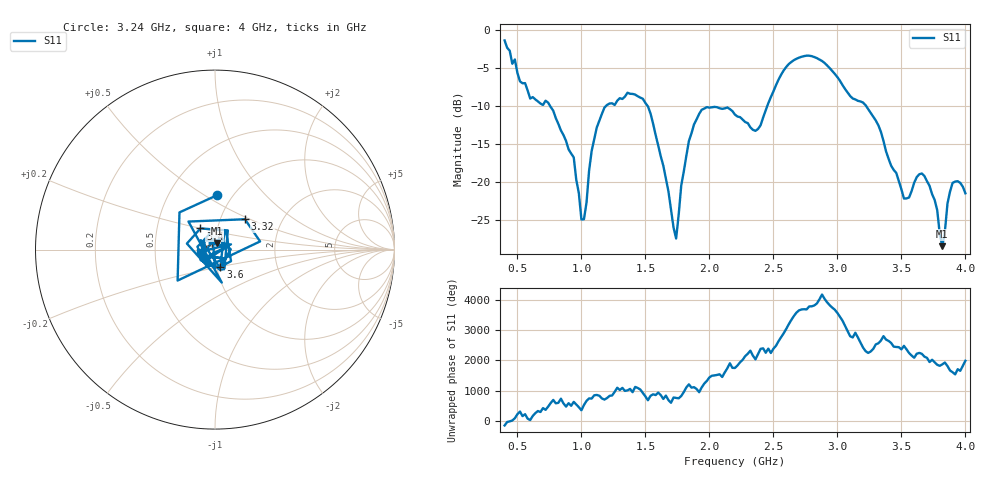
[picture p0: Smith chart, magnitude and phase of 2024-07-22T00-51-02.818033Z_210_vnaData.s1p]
!Created with skrf (http://scikit-rf.org).
# Hz S RI R 50.0
!freq ReS11 ImS11
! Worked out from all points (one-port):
!   181 points, 400 MHz to 4 GHz, reference 50 ohm
!   lowest |S11| = -28.4 dB at 3.82 GHz (marker M1), VSWR 1.08, Z = 51.1 + j3.69 ohm
!   |S11| at or under -10 dB: 757.2 MHz to 1.189 GHz (432.2 MHz wide, 44.4 % of centre); 1.52 GHz to 2.451 GHz (931.3 MHz wide, 46.9 % of centre); 3.226 GHz to end of sweep
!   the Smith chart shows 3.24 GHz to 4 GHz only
!   S11 on the Smith chart (normalised r, x): 3.24 GHz: 0.85, +0.57; 3.32 GHz: 1.31, +0.47; 3.4 GHz: 0.83, +0.20; 3.6 GHz: 1.04, -0.20; 4 GHz: 0.84, -0.02
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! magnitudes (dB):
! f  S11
! 400 MHz  -1.3
! 600 MHz  -9.0
! 740 MHz  -9.5
! 860 MHz  -13.8
! 940 MHz  -16.7
! 1 GHz  -24.9
! 1.02 GHz  -24.8
! 1.12 GHz  -12.8
! 1.3 GHz  -8.9
! 1.52 GHz  -10.0
! 1.74 GHz  -27.4
! 1.76 GHz  -24.2
! 1.84 GHz  -14.5
! 1.92 GHz  -11.0
! 2.2 GHz  -11.1
! 2.38 GHz  -13.0
! 2.66 GHz  -3.9
! 2.88 GHz  -4.0
! 3.1 GHz  -8.6
! 3.24 GHz  -10.4
! 3.32 GHz  -12.5
! 3.4 GHz  -16.9
! 3.56 GHz  -22.0
! 3.6 GHz  -20.0
! 3.72 GHz  -20.5
! 3.82 GHz  -28.4
! 3.9 GHz  -20.1
! 4 GHz  -21.4
